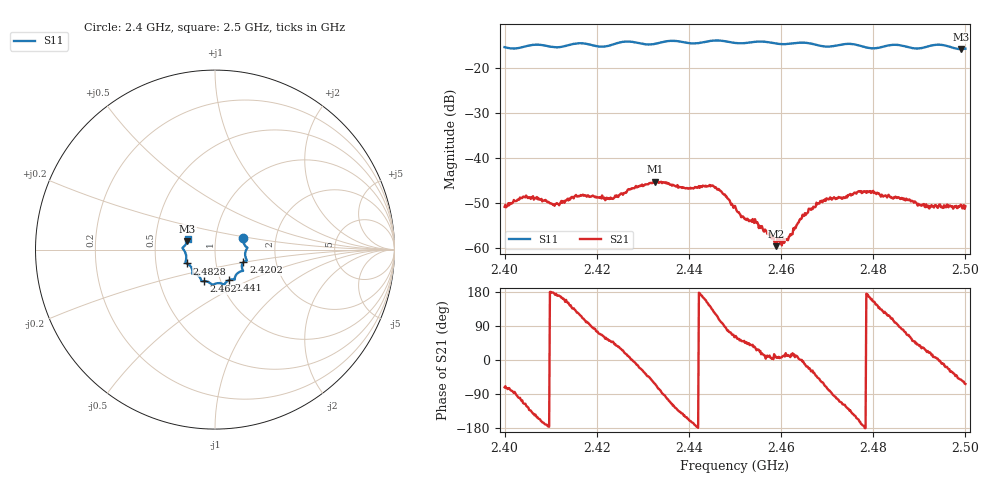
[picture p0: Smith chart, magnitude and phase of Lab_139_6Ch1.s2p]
# Hz S RI R 50
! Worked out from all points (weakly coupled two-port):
!   601 points, 2.4 GHz to 2.5 GHz, reference 50 ohm
!   highest |S21| = -45.29 dB at 2.4327 GHz (marker M1); lowest = -59.7 dB at 2.459 GHz (marker M2)
!   lowest |S11| = -15.8 dB at 2.499 GHz (marker M3), VSWR 1.39, Z = 36.5 + j3.48 ohm
!   |S11| at or under -10 dB: start of sweep to end of sweep
!   S12 and S22 are empty: the file has one direction only
!   S11 on the Smith chart (normalised r, x): 2.4 GHz: 1.36, +0.18; 2.4202 GHz: 1.36, -0.20; 2.441 GHz: 1.10, -0.39; 2.462 GHz: 0.84, -0.30; 2.4828 GHz: 0.72, -0.11; 2.5 GHz: 0.73, +0.09
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2.4e9  0.1575 0.0632  0.000876 -0.00271  0 0  0 0
2.404333e9  0.1713 0.0177  -0.00159 -0.00329  0 0  0 0
2.410667e9  0.1693 -0.0127  -0.003 0.000163  0 0  0 0
2.416667e9  0.1778 -0.0602  -0.00162 0.00342  0 0  0 0
2.420167e9  0.1582 -0.0707  0.000926 0.00351  0 0  0 0
2.423167e9  0.1498 -0.0993  0.00237 0.00257  0 0  0 0
2.432667e9  0.1148 -0.145  0.00246 -0.00485  0 0  0 0
2.433333e9  0.1123 -0.1511  0.00135 -0.00523  0 0  0 0
2.441e9  0.0785 -0.1695  -0.00444 -0.00101  0 0  0 0
2.445333e9  0.0523 -0.194  -0.00296 0.00379  0 0  0 0
2.45e9  0.0285 -0.1871  0.00145 0.00253  0 0  0 0
2.459e9  -0.0321 -0.1833  0.00103 0.000105  0 0  0 0
2.462e9  -0.0605 -0.1755  0.0014 0.000186  0 0  0 0
2.464333e9  -0.0742 -0.1756  0.00208 -1.18e-05  0 0  0 0
2.466667e9  -0.0779 -0.1682  0.00236 -0.00137  0 0  0 0
2.469667e9  -0.0923 -0.1457  0.00114 -0.0031  0 0  0 0
2.476833e9  -0.126 -0.1255  -0.00392 -0.00162  0 0  0 0
2.482833e9  -0.1574 -0.0773  -0.00202 0.00315  0 0  0 0
2.483333e9  -0.1605 -0.076  -0.00182 0.00342  0 0  0 0
2.491667e9  -0.1719 -0.00479  0.00265 0.00101  0 0  0 0
2.499e9  -0.1546 0.0465  0.00186 -0.00235  0 0  0 0
2.5e9  -0.1516 0.061  0.0013 -0.00257  0 0  0 0
